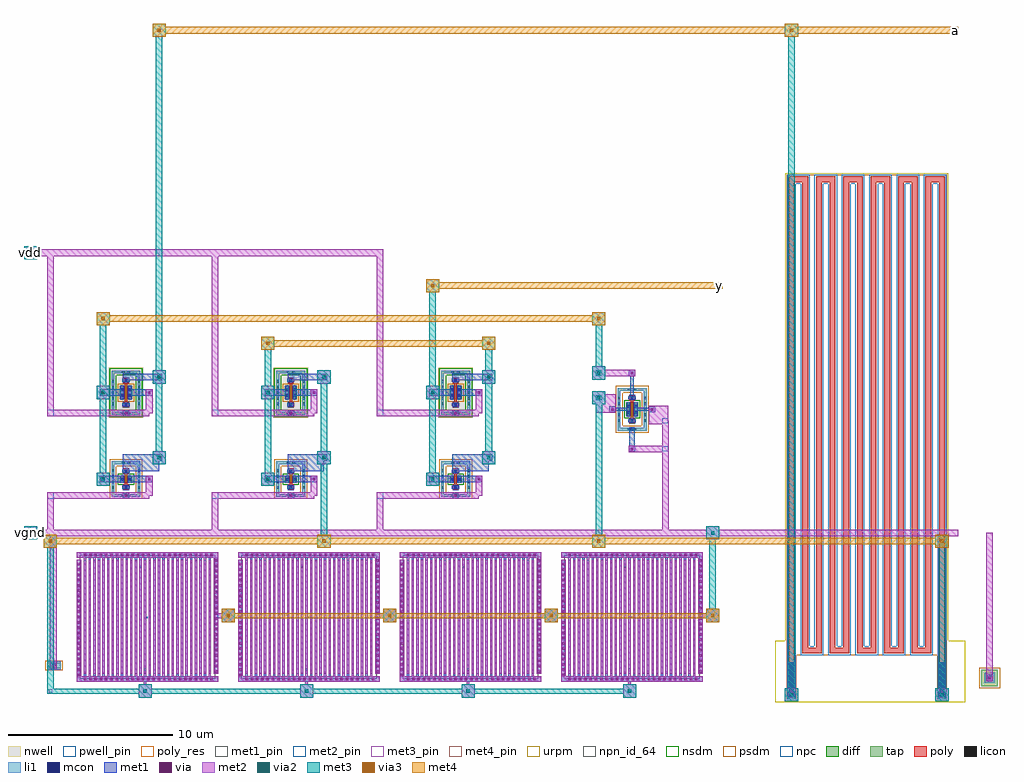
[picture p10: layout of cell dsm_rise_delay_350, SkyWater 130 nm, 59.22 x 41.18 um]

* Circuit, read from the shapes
.subckt dsm_rise_delay_350 a vdd vgnd y
XM1 vgnd a dsm_nand2_n084_4/G vgnd sky130_fd_pr__nfet_01v8 w=0.42 l=0.15
XM2 vgnd dsm_nand2_n084_4/D dsm_inv_1/a vgnd sky130_fd_pr__nfet_01v8 w=0.42 l=0.15
XM3 vgnd dsm_inv_1/a y vgnd sky130_fd_pr__nfet_01v8 w=0.42 l=0.15
XM4 vgnd dsm_nand2_n084_4/G dsm_nand2_n084_4/D vgnd sky130_fd_pr__nfet_01v8 w=0.84 l=0.15
XM5 vdd a dsm_nand2_n084_4/G vdd sky130_fd_pr__pfet_01v8 w=0.84 l=0.15
XM6 vdd dsm_nand2_n084_4/D dsm_inv_1/a vdd sky130_fd_pr__pfet_01v8 w=0.84 l=0.15
XM7 vdd dsm_inv_1/a y vdd sky130_fd_pr__pfet_01v8 w=0.84 l=0.15
XR8 a dsm_nand2_n084_4/D vgnd sky130_fd_pr__res_xhigh_po w=0.35 l=353.76
.ends

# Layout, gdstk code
import gdstk
lib = gdstk.Library(unit=1e-6, precision=1e-09)
def R(c, l, rs):  # rectangles x0, y0, x1, y1
    for r in rs: c.add(gdstk.rectangle(r[:2], r[2:], *l))
def A(c, l, x, y, w, h, nx, ny, dx, dy):  # array of equal rectangles
    R(c, l, [(x+i*dx, y+j*dy, x+i*dx+w, y+j*dy+h) for i in range(nx) for j in range(ny)])
nwell = (64, 20)
diff = (65, 20)
tap = (65, 44)
poly_res = (66, 13)
poly = (66, 20)
licon = (66, 44)
li1 = (67, 20)
mcon = (67, 44)
met1_pin = (68, 16)
met1 = (68, 20)
via = (68, 44)
met2_pin = (69, 16)
met2 = (69, 20)
via2 = (69, 44)
met3_pin = (70, 16)
met3 = (70, 20)
via3 = (70, 44)
met4_pin = (71, 16)
met4 = (71, 20)
urpm = (79, 20)
npn_id_64 = (82, 64)
nsdm = (93, 44)
psdm = (94, 20)
npc = (95, 20)
pwell_pin = (122, 16)

dsm_tg_n_device = lib.new_cell('dsm_tg_n_device')
R(dsm_tg_n_device, diff, [(-0.365,-0.21,0.365,0.21)])
R(dsm_tg_n_device, tap, [(-0.875,-1.08,0.875,-0.91), (-0.875,-0.91,-0.705,0.91), (0.705,-0.91,0.875,0.91), (-0.875,0.91,0.875,1.08)])
R(dsm_tg_n_device, poly, [(-0.165,-0.65,0.165,-0.32), (-0.075,-0.32,0.075,0.32), (-0.165,0.32,0.165,0.65)])
A(dsm_tg_n_device, licon, -0.875, -0.595, 0.17, 0.17, 1, 4, 0, 0.34)
A(dsm_tg_n_device, licon, 0.705, -0.595, 0.17, 0.17, 1, 4, 0, 0.34)
R(dsm_tg_n_device, licon, [(-0.255,-1.08,-0.085,-0.91), (0.085,-1.08,0.255,-0.91), (-0.085,-0.57,0.085,-0.4), (-0.305,-0.085,-0.135,0.085), (0.135,-0.085,0.305,0.085), (-0.085,0.4,0.085,0.57), (-0.255,0.91,-0.085,1.08), (0.085,0.91,0.255,1.08)])
R(dsm_tg_n_device, li1, [(-0.875,-1.08,0.875,-0.91), (-0.875,-0.91,-0.705,0.91), (0.705,-0.91,0.875,0.91), (-0.22,-0.57,0.22,-0.4), (-0.305,-0.23,-0.135,0.23), (0.135,-0.23,0.305,0.23), (-0.22,0.4,0.22,0.57), (-0.875,0.91,0.875,1.08)])
R(dsm_tg_n_device, mcon, [(-0.085,-0.57,0.085,-0.4), (-0.305,-0.085,-0.135,0.085), (0.135,-0.085,0.305,0.085), (-0.085,0.4,0.085,0.57)])
R(dsm_tg_n_device, met1, [(-0.145,-0.6,0.145,-0.57), (-0.22,-0.57,0.22,-0.4), (-0.145,-0.4,0.145,-0.37), (-0.335,-0.21,-0.105,0.21), (0.105,-0.21,0.335,0.21), (-0.145,0.37,0.145,0.4), (-0.22,0.4,0.22,0.57), (-0.145,0.57,0.145,0.6)])
R(dsm_tg_n_device, nsdm, [(-0.49,-0.335,0.49,0.335)])
R(dsm_tg_n_device, psdm, [(-1,-1.205,1,-0.785), (-1,-0.785,-0.58,0.785), (0.58,-0.785,1,0.785), (-1,0.785,1,1.205)])
R(dsm_tg_n_device, npc, [(-0.185,-0.67,0.185,-0.3), (-0.185,0.3,0.185,0.67)])
dsm_tg_n_device.add(gdstk.Label('G', (0,0.485), layer=67, texttype=5))
dsm_tg_n_device.add(gdstk.Label('S', (0.22,0), layer=67, texttype=5))
dsm_tg_n_device.add(gdstk.Label('D', (-0.22,0), layer=67, texttype=5))
dsm_tg_n_device.add(gdstk.Label('B', (0,-0.995), layer=67, texttype=5))

dsm_inv_p_device = lib.new_cell('dsm_inv_p_device')
R(dsm_inv_p_device, nwell, [(-1.055,-1.515,1.055,1.515)])
R(dsm_inv_p_device, diff, [(-0.365,-0.42,0.365,0.42)])
R(dsm_inv_p_device, tap, [(-0.875,-1.335,0.875,-1.165), (-0.875,-1.165,-0.705,1.165), (0.705,-1.165,0.875,1.165), (-0.875,1.165,0.875,1.335)])
R(dsm_inv_p_device, poly, [(-0.165,-0.905,0.165,-0.575), (-0.075,-0.575,0.075,0.575), (-0.165,0.575,0.165,0.905)])
A(dsm_inv_p_device, licon, -0.875, -0.765, 0.17, 0.17, 1, 5, 0, 0.34)
A(dsm_inv_p_device, licon, 0.705, -0.765, 0.17, 0.17, 1, 5, 0, 0.34)
R(dsm_inv_p_device, licon, [(-0.255,-1.335,-0.085,-1.165), (0.085,-1.335,0.255,-1.165), (-0.085,-0.825,0.085,-0.655), (-0.305,-0.255,-0.135,-0.085), (0.135,-0.255,0.305,-0.085), (-0.305,0.085,-0.135,0.255), (0.135,0.085,0.305,0.255), (-0.085,0.655,0.085,0.825), (-0.255,1.165,-0.085,1.335), (0.085,1.165,0.255,1.335)])
R(dsm_inv_p_device, li1, [(-0.875,-1.335,0.875,-1.165), (-0.875,-1.165,-0.705,1.165), (0.705,-1.165,0.875,1.165), (-0.22,-0.825,0.22,-0.655), (-0.305,-0.44,-0.135,0.44), (0.135,-0.44,0.305,0.44), (-0.22,0.655,0.22,0.825), (-0.875,1.165,0.875,1.335)])
R(dsm_inv_p_device, mcon, [(-0.085,-0.825,0.085,-0.655), (-0.305,-0.265,-0.135,-0.095), (0.135,-0.265,0.305,-0.095), (-0.305,0.095,-0.135,0.265), (0.135,0.095,0.305,0.265), (-0.085,0.655,0.085,0.825)])
R(dsm_inv_p_device, met1, [(-0.145,-0.855,0.145,-0.825), (-0.22,-0.825,0.22,-0.655), (-0.145,-0.655,0.145,-0.625), (-0.335,-0.42,-0.105,0.42), (0.105,-0.42,0.335,0.42), (-0.145,0.625,0.145,0.655), (-0.22,0.655,0.22,0.825), (-0.145,0.825,0.145,0.855)])
R(dsm_inv_p_device, nsdm, [(-1,-1.46,1,-1.04), (-1,-1.04,-0.58,1.04), (0.58,-1.04,1,1.04), (-1,1.04,1,1.46)])
R(dsm_inv_p_device, psdm, [(-0.49,-0.545,0.49,0.545)])
R(dsm_inv_p_device, npc, [(-0.185,-0.925,0.185,-0.555), (-0.185,0.555,0.185,0.925)])
dsm_inv_p_device.add(gdstk.Label('G', (0,0.74), layer=67, texttype=5))
dsm_inv_p_device.add(gdstk.Label('S', (0.22,0), layer=67, texttype=5))
dsm_inv_p_device.add(gdstk.Label('D', (-0.22,0), layer=67, texttype=5))
dsm_inv_p_device.add(gdstk.Label('B', (0,-1.25), layer=67, texttype=5))

dsm_inv = lib.new_cell('dsm_inv')
R(dsm_inv, li1, [(4.64,1.85,4.94,2.15), (4.64,6.85,4.94,7.15)])
R(dsm_inv, mcon, [(4.705,1.915,4.875,2.085), (4.705,6.915,4.875,7.085)])
R(dsm_inv, met1, [(4.59,1.8,4.99,2.2), (3.2,2.795,4.57,3.195), (5.01,2.795,6.4,3.195), (4.59,3.48,6.8,4.1), (4.59,4.1,7,4.5), (4.59,6.8,4.99,7.2), (3.2,8.05,4.57,8.45), (5.01,8.05,6.4,8.45), (4.59,8.99,7,9.39)])
R(dsm_inv, via, [(4.715,1.925,4.865,2.075), (3.325,2.92,3.475,3.07), (6.125,2.92,6.275,3.07), (6.725,4.225,6.875,4.375), (4.715,6.925,4.865,7.075), (3.325,8.175,3.475,8.325), (6.125,8.175,6.275,8.325), (6.725,9.115,6.875,9.265)])
R(dsm_inv, met2_pin, [(0,1.8,0.4,2.2), (0,6.8,0.4,7.2)])
R(dsm_inv, met2, [(0,1.8,6.2,2), (0,2,6.4,2.2), (6,2.2,6.4,3.195), (3,2.595,3.8,3.395), (6.4,3.9,7.2,4.7), (0,6.8,6.2,7), (0,7,6.4,7.2), (6,7.2,6.4,8.45), (3,7.85,3.8,8.65), (6.4,8.79,7.2,9.59)])
R(dsm_inv, via2, [(3.3,2.895,3.5,3.095), (6.7,4.2,6.9,4.4), (3.3,8.15,3.5,8.35), (6.7,9.09,6.9,9.29)])
R(dsm_inv, met3_pin, [(3.2,7.85,3.6,8.25), (6.6,8.79,7,9.19)])
R(dsm_inv, met3, [(3,2.595,3.8,3.395), (3.2,3.395,3.6,7.85), (6.4,3.9,7.2,4.7), (6.6,4.7,7,8.79), (3,7.85,3.8,8.65), (6.4,8.79,7.2,9.59)])
dsm_inv.add(gdstk.Reference(dsm_tg_n_device, (4.79,2.995)))
dsm_inv.add(gdstk.Reference(dsm_inv_p_device, (4.79,8.25)))
dsm_inv.add(gdstk.Label('vgnd', (0.2,2), layer=69, texttype=5))
dsm_inv.add(gdstk.Label('vdd', (0.2,7), layer=69, texttype=5))
dsm_inv.add(gdstk.Label('y', (3.4,8.05), layer=70, texttype=5))
dsm_inv.add(gdstk.Label('a', (6.8,8.99), layer=70, texttype=5))

sky130_fd_pr__cap_vpp_08 = lib.new_cell('sky130_fd_pr__cap_vpp_08p6x07p8_m1m2_noshield')
A(sky130_fd_pr__cap_vpp_08, met1, 0, 0.32, 0.14, 7.06, 14, 1, 0.56, 0)
A(sky130_fd_pr__cap_vpp_08, met1, 0.28, 0.46, 0.14, 7.06, 14, 1, 0.56, 0)
R(sky130_fd_pr__cap_vpp_08, met1, [(-0.44,0,8.14,0.32), (-0.44,0.32,-0.17,7.38), (7.87,0.46,8.14,7.52), (-0.44,7.52,8.14,7.84)])
A(sky130_fd_pr__cap_vpp_08, via, -0.38, 0.32, 0.15, 0.15, 1, 22, 0, 0.32)
A(sky130_fd_pr__cap_vpp_08, via, 7.93, 0.545, 0.15, 0.15, 1, 22, 0, 0.32)
A(sky130_fd_pr__cap_vpp_08, via, -0.005, 7.605, 0.15, 0.15, 25, 1, 0.32, 0)
R(sky130_fd_pr__cap_vpp_08, via, [(-0.005,0.085,0.145,0.235), (-0.005,0.085,0.145,0.235), (0.315,0.085,0.465,0.235), (0.315,0.085,0.465,0.235), (0.635,0.085,0.785,0.235), (0.635,0.085,0.785,0.235), (0.955,0.085,1.105,0.235), (0.955,0.085,1.105,0.235), (1.275,0.085,1.425,0.235), (1.275,0.085,1.425,0.235), (1.595,0.085,1.745,0.235), (1.595,0.085,1.745,0.235), (1.915,0.085,2.065,0.235), (1.915,0.085,2.065,0.235), (2.235,0.085,2.385,0.235), (2.235,0.085,2.385,0.235), (2.555,0.085,2.705,0.235), (2.555,0.085,2.705,0.235), (2.875,0.085,3.025,0.235), (2.875,0.085,3.025,0.235), (3.195,0.085,3.345,0.235), (3.195,0.085,3.345,0.235), (3.515,0.085,3.665,0.235), (3.515,0.085,3.665,0.235), (3.835,0.085,3.985,0.235), (3.835,0.085,3.985,0.235), (4.155,0.085,4.305,0.235), (4.155,0.085,4.305,0.235), (4.475,0.085,4.625,0.235), (4.475,0.085,4.625,0.235), (4.795,0.085,4.945,0.235), (4.795,0.085,4.945,0.235), (5.115,0.085,5.265,0.235), (5.115,0.085,5.265,0.235), (5.435,0.085,5.585,0.235), (5.435,0.085,5.585,0.235), (5.755,0.085,5.905,0.235), (5.755,0.085,5.905,0.235), (6.075,0.085,6.225,0.235), (6.075,0.085,6.225,0.235), (6.395,0.085,6.545,0.235), (6.395,0.085,6.545,0.235), (6.715,0.085,6.865,0.235), (6.715,0.085,6.865,0.235), (7.035,0.085,7.185,0.235), (7.035,0.085,7.185,0.235), (7.355,0.085,7.505,0.235), (7.355,0.085,7.505,0.235), (7.675,0.085,7.825,0.235), (7.675,0.085,7.825,0.235)])
R(sky130_fd_pr__cap_vpp_08, met2_pin, [(3.645,0.665,3.77,0.805), (3.37,6.865,3.485,7)])
A(sky130_fd_pr__cap_vpp_08, met2, 0.28, 0.32, 0.14, 7.06, 14, 1, 0.56, 0)
A(sky130_fd_pr__cap_vpp_08, met2, 0, 0.46, 0.14, 7.06, 14, 1, 0.56, 0)
R(sky130_fd_pr__cap_vpp_08, met2, [(-0.44,0,8.14,0.32), (-0.44,0.32,-0.17,7.38), (7.87,0.46,8.14,7.52), (-0.44,7.52,8.14,7.84)])
R(sky130_fd_pr__cap_vpp_08, npn_id_64, [(-0.27,0.17,7.97,7.67)])
R(sky130_fd_pr__cap_vpp_08, pwell_pin, [(3.805,3.825,3.88,3.915)])
sky130_fd_pr__cap_vpp_08.add(gdstk.Label('C0', (3.72,0.735), layer=69, texttype=5))
sky130_fd_pr__cap_vpp_08.add(gdstk.Label('C1', (3.435,6.955), layer=69, texttype=5))
sky130_fd_pr__cap_vpp_08.add(gdstk.Label('SUB', (3.843,3.87), layer=64, texttype=59))
sky130_fd_pr__cap_vpp_08.add(gdstk.Label('For future design recommend using caps in MTM-378', (3.675,0.165), layer=83, texttype=44))

dsm_cdac = lib.new_cell('dsm_cdac')
R(dsm_cdac, tap, [(0.2,2,1.02,2.34)])
R(dsm_cdac, licon, [(0.525,2.085,0.695,2.255)])
R(dsm_cdac, li1, [(0.2,1.9,1.02,2.44)])
R(dsm_cdac, mcon, [(0.525,2.085,0.695,2.255)])
R(dsm_cdac, met1_pin, [(0.525,2.085,0.625,2.185)])
R(dsm_cdac, met1, [(0.455,2.015,0.765,2.325)])
A(dsm_cdac, met2, 5.75, 0.22, 0.8, 0.8, 4, 1, 9.8, 0)
A(dsm_cdac, met2, 6.08, 1.02, 0.14, 0.985, 4, 1, 9.8, 0)
A(dsm_cdac, met2, 10.79, 4.8, 0.8, 0.25, 4, 2, 9.8, 0.55)
A(dsm_cdac, met2, 10.31, 5.05, 1.28, 0.3, 4, 1, 9.8, 0)
A(dsm_cdac, via2, 6.05, 0.52, 0.2, 0.2, 4, 1, 9.8, 0)
A(dsm_cdac, via2, 11.09, 5.1, 0.2, 0.2, 4, 1, 9.8, 0)
R(dsm_cdac, met3_pin, [(0.3,0.52,0.5,0.72)])
A(dsm_cdac, met3, 5.75, 0.22, 0.8, 0.25, 4, 2, 9.8, 0.55)
A(dsm_cdac, met3, 10.79, 4.8, 0.8, 0.8, 4, 1, 9.8, 0)
R(dsm_cdac, met3, [(0.2,0.47,35.95,0.77)])
A(dsm_cdac, via3, 11.09, 5.1, 0.2, 0.2, 4, 1, 9.8, 0)
R(dsm_cdac, met4_pin, [(40.49,5.1,40.69,5.3)])
A(dsm_cdac, met4, 10.79, 4.8, 0.8, 0.25, 4, 2, 9.8, 0.55)
R(dsm_cdac, met4, [(10.79,5.05,40.99,5.35)])
R(dsm_cdac, psdm, [(0.075,1.875,1.145,2.465)])
dsm_cdac.add(gdstk.Reference(sky130_fd_pr__cap_vpp_08, (12.24,1.2)))
dsm_cdac.add(gdstk.Reference(sky130_fd_pr__cap_vpp_08, (2.44,1.2)))
dsm_cdac.add(gdstk.Reference(sky130_fd_pr__cap_vpp_08, (22.04,1.2)))
dsm_cdac.add(gdstk.Reference(sky130_fd_pr__cap_vpp_08, (31.84,1.2)))
dsm_cdac.add(gdstk.Label('vgnd', (0.575,2.135), layer=68, texttype=5))
dsm_cdac.add(gdstk.Label('top', (0.4,0.62), layer=70, texttype=5))
dsm_cdac.add(gdstk.Label('bottom', (40.59,5.2), layer=71, texttype=5))

dsm_nand2_n084 = lib.new_cell('dsm_nand2_n084')
R(dsm_nand2_n084, diff, [(-0.365,-0.42,0.365,0.42)])
R(dsm_nand2_n084, tap, [(-0.875,-1.29,0.875,-1.12), (-0.875,-1.12,-0.705,1.12), (0.705,-1.12,0.875,1.12), (-0.875,1.12,0.875,1.29)])
R(dsm_nand2_n084, poly, [(-0.165,-0.86,0.165,-0.53), (-0.075,-0.53,0.075,0.53), (-0.165,0.53,0.165,0.86)])
A(dsm_nand2_n084, licon, -0.875, -0.765, 0.17, 0.17, 1, 5, 0, 0.34)
A(dsm_nand2_n084, licon, 0.705, -0.765, 0.17, 0.17, 1, 5, 0, 0.34)
R(dsm_nand2_n084, licon, [(-0.255,-1.29,-0.085,-1.12), (0.085,-1.29,0.255,-1.12), (-0.085,-0.78,0.085,-0.61), (-0.305,-0.255,-0.135,-0.085), (0.135,-0.255,0.305,-0.085), (-0.305,0.085,-0.135,0.255), (0.135,0.085,0.305,0.255), (-0.085,0.61,0.085,0.78), (-0.255,1.12,-0.085,1.29), (0.085,1.12,0.255,1.29)])
R(dsm_nand2_n084, li1, [(-0.875,-1.29,0.875,-1.12), (-0.875,-1.12,-0.705,1.12), (0.705,-1.12,0.875,1.12), (-0.22,-0.78,0.22,-0.61), (-0.305,-0.44,-0.135,0.44), (0.135,-0.44,0.305,0.44), (-0.22,0.61,0.22,0.78), (-0.875,1.12,0.875,1.29)])
R(dsm_nand2_n084, mcon, [(-0.085,-1.29,0.085,-1.12), (-0.085,-0.78,0.085,-0.61), (-0.305,-0.265,-0.135,-0.095), (0.135,-0.265,0.305,-0.095), (-0.305,0.095,-0.135,0.265), (0.135,0.095,0.305,0.265), (-0.085,0.61,0.085,0.78)])
R(dsm_nand2_n084, met1, [(-0.19,-2.59,0.19,-2.21), (-0.16,-2.21,0.16,-1.085), (-0.145,-0.81,0.145,-0.78), (-0.22,-0.78,0.22,-0.61), (-0.145,-0.61,0.145,-0.58), (-0.335,-0.42,-0.105,-0.1), (0.105,-0.42,0.335,-0.1), (-1.39,-0.19,-1.01,-0.1), (1.01,-0.19,1.39,-0.1), (-1.39,-0.1,-0.105,0.1), (0.105,-0.1,1.39,0.1), (-1.39,0.1,-1.01,0.19), (-0.335,0.1,-0.105,0.42), (0.105,0.1,0.335,0.42), (1.01,0.1,1.39,0.19), (-0.145,0.58,0.145,0.61), (-0.22,0.61,0.22,0.78), (-0.145,0.78,0.145,0.81), (-0.1,0.81,0.1,2.01), (-0.19,2.01,0.19,2.39)])
R(dsm_nand2_n084, via, [(-0.075,-2.475,0.075,-2.325), (-1.275,-0.075,-1.125,0.075), (1.125,-0.075,1.275,0.075), (-0.075,2.125,0.075,2.275)])
R(dsm_nand2_n084, met2_pin, [(1.84,-2.56,2.2,-2.24), (1.84,-0.86,2.2,-0.54), (-2.2,0.54,-1.84,0.86), (-2.2,2.04,-1.84,2.36)])
R(dsm_nand2_n084, met2, [(-0.2,-2.6,2.2,-2.2), (1,-0.9,2.2,0.2), (-2.2,-0.2,-1,0.9), (-2.2,2,0.2,2.4)])
R(dsm_nand2_n084, nsdm, [(-0.49,-0.545,0.49,0.545)])
R(dsm_nand2_n084, psdm, [(-1,-1.415,1,-0.995), (-1,-0.995,-0.58,0.995), (0.58,-0.995,1,0.995), (-1,0.995,1,1.415)])
R(dsm_nand2_n084, npc, [(-0.185,-0.88,0.185,-0.51), (-0.185,0.51,0.185,0.88)])
dsm_nand2_n084.add(gdstk.Label('G', (0,0.695), layer=67, texttype=5))
dsm_nand2_n084.add(gdstk.Label('S', (0.22,0), layer=67, texttype=5))
dsm_nand2_n084.add(gdstk.Label('D', (-0.22,0), layer=67, texttype=5))
dsm_nand2_n084.add(gdstk.Label('B', (0,-1.205), layer=67, texttype=5))
dsm_nand2_n084.add(gdstk.Label('B', (2.02,-2.4), layer=69, texttype=5))
dsm_nand2_n084.add(gdstk.Label('G', (-2.02,2.2), layer=69, texttype=5))
dsm_nand2_n084.add(gdstk.Label('S', (2.02,-0.7), layer=69, texttype=5))
dsm_nand2_n084.add(gdstk.Label('D', (-2.02,0.7), layer=69, texttype=5))

dsm_clock_r350_device = lib.new_cell('dsm_clock_r350_device')
A(dsm_clock_r350_device, poly_res, -3.91, -13.135, 1.18, 0.35, 5, 1, 1.66, 0)
A(dsm_clock_r350_device, poly_res, -3.91, -12.785, 0.35, 28.25, 10, 1, 0.83, 0)
A(dsm_clock_r350_device, poly_res, -4.74, 15.465, 1.18, 0.35, 6, 1, 1.66, 0)
R(dsm_clock_r350_device, poly_res, [(-4.74,-13.735,-4.39,15.465), (4.39,-13.735,4.74,15.465)])
A(dsm_clock_r350_device, poly, -3.91, -13.135, 1.18, 0.35, 5, 1, 1.66, 0)
A(dsm_clock_r350_device, poly, -3.91, -12.785, 0.35, 28.25, 10, 1, 0.83, 0)
A(dsm_clock_r350_device, poly, -4.74, 15.465, 1.18, 0.35, 6, 1, 1.66, 0)
R(dsm_clock_r350_device, poly, [(-4.74,-15.815,-4.39,15.465), (4.39,-15.815,4.74,15.465)])
R(dsm_clock_r350_device, licon, [(-4.66,-15.735,-4.47,-13.735), (4.47,-15.735,4.66,-13.735)])
R(dsm_clock_r350_device, li1, [(-4.74,-15.815,-4.39,-13.655), (4.39,-15.815,4.74,-13.655)])
A(dsm_clock_r350_device, mcon, -4.65, -15.72, 0.17, 0.17, 1, 6, 0, 0.36)
A(dsm_clock_r350_device, mcon, 4.48, -15.72, 0.17, 0.17, 1, 6, 0, 0.36)
R(dsm_clock_r350_device, met1, [(-4.755,-15.83,-4.375,-15.45), (4.375,-15.83,4.755,-15.45), (-4.69,-15.45,-4.44,-13.68), (4.44,-15.45,4.69,-13.68)])
R(dsm_clock_r350_device, via, [(-4.64,-15.715,-4.49,-15.565), (4.49,-15.715,4.64,-15.565)])
R(dsm_clock_r350_device, met2, [(-4.765,-15.84,-4.365,-15.44), (4.365,-15.84,4.765,-15.44)])
R(dsm_clock_r350_device, urpm, [(-5.54,-16.1,5.98,-12.37), (-4.94,-12.37,4.94,16.015)])
R(dsm_clock_r350_device, psdm, [(-4.85,-15.925,-4.28,-13.245), (4.28,-15.925,4.85,-13.245), (-4.85,-13.245,4.85,15.925)])
A(dsm_clock_r350_device, npc, -4.005, -13.23, 1.37, 0.54, 5, 1, 1.66, 0)
A(dsm_clock_r350_device, npc, -4.005, -12.69, 0.54, 28.06, 10, 1, 0.83, 0)
A(dsm_clock_r350_device, npc, -4.835, 15.37, 1.37, 0.54, 6, 1, 1.66, 0)
R(dsm_clock_r350_device, npc, [(-4.835,-15.91,-4.295,15.37), (4.295,-15.91,4.835,15.37)])
dsm_clock_r350_device.add(gdstk.Label('R2', (4.565,-15.64), layer=67, texttype=5))
dsm_clock_r350_device.add(gdstk.Label('R1', (-4.565,-15.64), layer=67, texttype=5))

dsm_rise_delay_350 = lib.new_cell('dsm_rise_delay_350')
R(dsm_rise_delay_350, tap, [(56.7,0.7,57.7,1.7)])
R(dsm_rise_delay_350, licon, [(57.115,1.115,57.285,1.285)])
R(dsm_rise_delay_350, li1, [(56.9,0.9,57.5,1.5)])
R(dsm_rise_delay_350, mcon, [(57.115,1.115,57.285,1.285)])
R(dsm_rise_delay_350, met1, [(57.01,1.01,57.39,1.39), (0.185,1.725,0.565,2.105)])
R(dsm_rise_delay_350, via, [(57.125,1.125,57.275,1.275), (0.3,1.84,0.45,1.99)])
A(dsm_rise_delay_350, met2, 0, 10.2, 0.4, 2.065, 3, 1, 10, 0)
A(dsm_rise_delay_350, met2, 0, 17.265, 0.4, 9.535, 3, 1, 10, 0)
R(dsm_rise_delay_350, met2, [(44.775,-0.225,45.575,0.575), (53.905,-0.225,54.705,0.575), (57,1,57.4,10), (0.175,1.715,0.575,9.8), (-1.4,9.6,-0.6,9.8), (39.99,9.6,40.79,9.8), (-1.4,9.8,55.3,10.2), (-1.4,10.2,-0.6,10.4), (37.32,10.2,37.72,16.8), (39.99,10.2,40.79,10.4), (33.08,17.8,33.88,18.6), (33.08,19.3,33.88,20.1), (-1.4,26.6,-0.6,26.8), (-1.4,26.8,20.4,27.2), (-1.4,27.2,-0.6,27.4)])
R(dsm_rise_delay_350, via2, [(45.075,0.075,45.275,0.275), (54.205,0.075,54.405,0.275), (-1.1,9.9,-0.9,10.1), (40.29,9.9,40.49,10.1), (33.38,18.1,33.58,18.3), (33.38,19.6,33.58,19.8), (-1.1,26.9,-0.9,27.1)])
R(dsm_rise_delay_350, met3_pin, [(-1.2,9.7,-0.8,10.3), (-1.2,26.7,-0.8,27.3)])
R(dsm_rise_delay_350, met3, [(44.775,-0.225,45.575,0.575), (53.905,-0.225,54.705,0.575), (0,0.4,0.4,9.1), (44.975,0.575,45.375,40.1), (54.105,0.575,54.505,9.1), (39.99,4.58,40.79,5.38), (40.19,5.38,40.59,9.6), (-0.2,9.1,0.6,9.9), (16.4,9.1,17.2,9.9), (33.08,9.1,33.88,9.9), (53.905,9.1,54.705,9.9), (-1.4,9.6,-0.6,10.4), (39.99,9.6,40.79,10.4), (16.6,9.9,17,19.255), (33.28,9.9,33.68,17.8), (33.08,17.8,33.88,18.6), (3.2,18.315,3.6,22.6), (13.2,18.315,13.6,21.1), (23.2,18.315,23.6,24.6), (6.6,19.255,7,40.1), (26.6,19.255,27,21.1), (33.08,19.3,33.88,20.1), (33.28,20.1,33.68,22.6), (13,21.1,13.8,21.9), (26.4,21.1,27.2,21.9), (3,22.6,3.8,23.4), (33.08,22.6,33.88,23.4), (23,24.6,23.8,25.4), (-1.4,26.6,-0.6,27.4), (6.4,40.1,7.2,40.9), (44.775,40.1,45.575,40.9)])
R(dsm_rise_delay_350, via3, [(40.29,4.88,40.49,5.08), (0.1,9.4,0.3,9.6), (16.7,9.4,16.9,9.6), (33.38,9.4,33.58,9.6), (54.205,9.4,54.405,9.6), (13.3,21.4,13.5,21.6), (26.7,21.4,26.9,21.6), (3.3,22.9,3.5,23.1), (33.38,22.9,33.58,23.1), (23.3,24.9,23.5,25.1), (6.7,40.4,6.9,40.6), (45.075,40.4,45.275,40.6)])
R(dsm_rise_delay_350, met4_pin, [(40.6,24.8,41,25.2), (54.9,40.3,55.3,40.7)])
R(dsm_rise_delay_350, met4, [(39.99,4.58,40.79,5.38), (-0.2,9.1,0.6,9.3), (16.4,9.1,17.2,9.3), (33.08,9.1,33.88,9.3), (53.905,9.1,54.705,9.3), (-0.2,9.3,54.705,9.7), (-0.2,9.7,0.6,9.9), (16.4,9.7,17.2,9.9), (33.08,9.7,33.88,9.9), (53.905,9.7,54.705,9.9), (13,21.1,13.8,21.3), (26.4,21.1,27.2,21.3), (13,21.3,27.2,21.7), (13,21.7,13.8,21.9), (26.4,21.7,27.2,21.9), (3,22.6,3.8,22.8), (33.08,22.6,33.88,22.8), (3,22.8,33.88,23.2), (3,23.2,3.8,23.4), (33.08,23.2,33.88,23.4), (23,24.6,23.8,24.8), (23,24.8,41,25.2), (23,25.2,23.8,25.4), (6.4,40.1,7.2,40.3), (44.775,40.1,45.575,40.3), (6.4,40.3,55.3,40.7), (6.4,40.7,7.2,40.9), (44.775,40.7,45.575,40.9)])
R(dsm_rise_delay_350, psdm, [(56.575,0.575,57.825,1.825)])
dsm_rise_delay_350.add(gdstk.Reference(dsm_inv, (10,10.265)))
dsm_rise_delay_350.add(gdstk.Reference(dsm_inv, (20,10.265)))
dsm_rise_delay_350.add(gdstk.Reference(dsm_inv, (0,10.265)))
dsm_rise_delay_350.add(gdstk.Reference(dsm_cdac, (-0.2,-0.22)))
dsm_rise_delay_350.add(gdstk.Reference(dsm_nand2_n084, (35.5,17.5)))
dsm_rise_delay_350.add(gdstk.Reference(dsm_clock_r350_device, (49.74,15.815)))
dsm_rise_delay_350.add(gdstk.Label('vgnd', (-1,10), layer=70, texttype=5))
dsm_rise_delay_350.add(gdstk.Label('vdd', (-1,27), layer=70, texttype=5))
dsm_rise_delay_350.add(gdstk.Label('y', (40.8,25), layer=71, texttype=5))
dsm_rise_delay_350.add(gdstk.Label('a', (55.1,40.5), layer=71, texttype=5))

lib.write_gds('dsm_rise_delay_350.gds')
